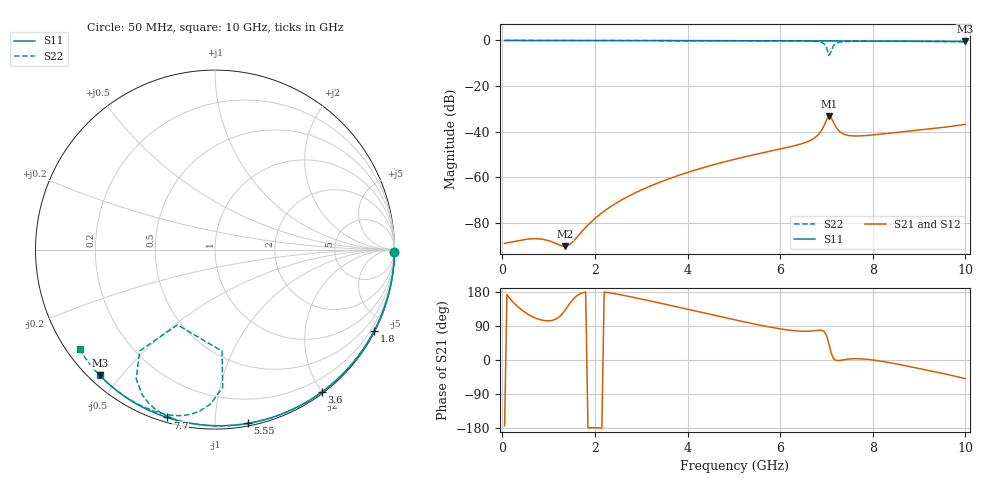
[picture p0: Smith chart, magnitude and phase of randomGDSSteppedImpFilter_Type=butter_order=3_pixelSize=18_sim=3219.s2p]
! freq	dB(S11)	phase(S11)	dB(S12)	phase(S12)
!  dB(S21)	phase(S21)	dB(S22)	phase(S22)
!S-par simulation data
#  GHz  S  DB  R 50
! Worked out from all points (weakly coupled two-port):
!   200 points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, 50 MHz to 10 GHz, reference 50 ohm
!   highest |S21| = -33.08 dB at 7.05 GHz (marker M1); lowest = -90.2 dB at 1.35 GHz (marker M2)
!   lowest |S11| = -0.4 dB at 10 GHz (marker M3), VSWR 38.71, Z = 1.54 - j22 ohm
!   |S11| at or under -10 dB: nowhere
!   |S22| runs from -6.6 to 0.0 dB; largest |S21 - S12| = 0
!   S11 on the Smith chart (normalised r, x): 50 MHz: open; 1.8 GHz: 0.04, -4.14; 3.6 GHz: 0.02, -2.00; 5.55 GHz: 0.02, -1.21; 7.7 GHz: 0.02, -0.75; 10 GHz: 0.03, -0.44
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0.05  -0.00 -0.8  -88.95 -173.8  -88.95 -173.8  -0.00 -0.8
1.35  -0.03 -20.5  -90.18 130.3  -90.18 130.3  -0.03 -22.1
1.75  -0.03 -26.4  -83.06 178.0  -83.06 178.0  -0.04 -28.6
1.8  -0.03 -27.2  -81.96 179.6  -81.96 179.6  -0.04 -29.4
1.9  -0.04 -28.7  -79.92 -178.8  -79.92 -178.8  -0.04 -31.0
2.65  -0.05 -39.6  -69.09 169.8  -69.09 169.8  -0.05 -42.8
3.4  -0.07 -50.3  -62.16 150.3  -62.16 150.3  -0.07 -54.4
3.6  -0.07 -53.1  -60.64 144.9  -60.64 144.9  -0.08 -57.4
5.05  -0.11 -72.8  -51.92 105.3  -51.92 105.3  -0.12 -79.0
5.55  -0.13 -79.3  -49.58 92.4  -49.58 92.4  -0.14 -86.4
6.7  -0.18 -93.8  -43.29 76.8  -43.29 76.8  -0.33 -107.1
6.85  -0.19 -95.7  -40.68 78.7  -40.68 78.7  -0.61 -113.3
6.95  -0.20 -96.9  -37.29 75.1  -37.29 75.1  -1.48 -121.4
7  -0.20 -97.5  -34.92 65.6  -34.92 65.6  -3.06 -126.6
7.05  -0.20 -98.1  -33.08 44.3  -33.08 44.3  -6.58 -116.5
7.1  -0.20 -98.7  -33.70 18.8  -33.70 18.8  -4.93 -86.1
7.15  -0.20 -99.3  -35.83 4.4  -35.83 4.4  -2.31 -86.8
7.25  -0.21 -100.5  -39.19 -1.6  -39.19 -1.6  -0.88 -95.4
7.4  -0.22 -102.3  -41.26 1.2  -41.26 1.2  -0.48 -102.3
7.7  -0.24 -105.9  -41.86 3.4  -41.86 3.4  -0.34 -109.4
8.35  -0.29 -113.6  -40.69 -6.7  -40.69 -6.7  -0.35 -119.8
10  -0.45 -132.6  -36.75 -49.5  -36.75 -49.5  -0.59 -143.6
